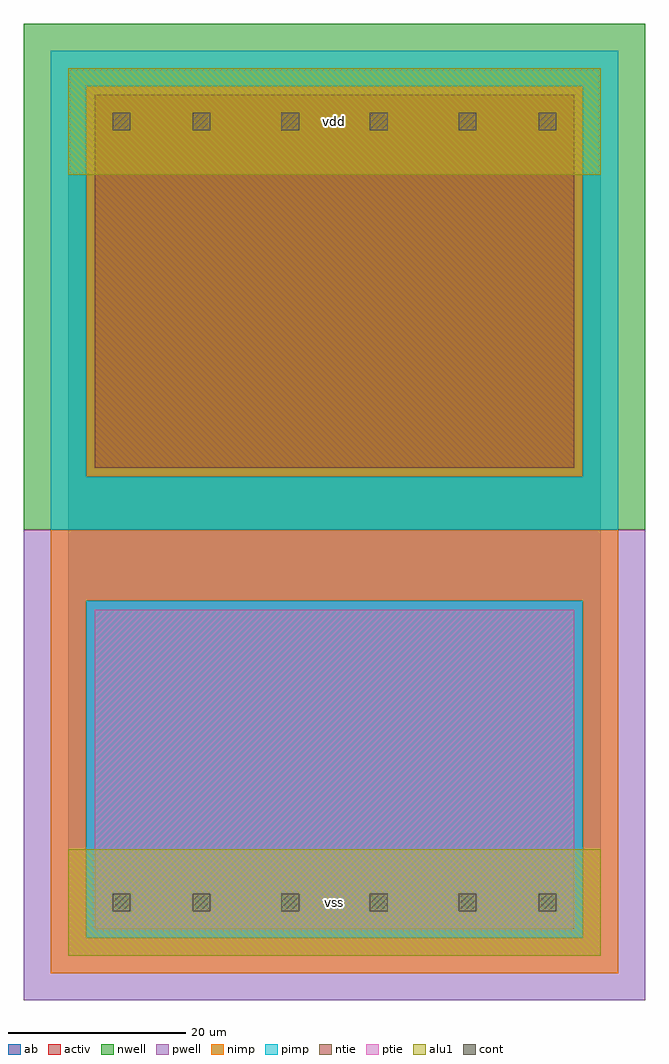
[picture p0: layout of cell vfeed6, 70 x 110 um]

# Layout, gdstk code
import gdstk
lib = gdstk.Library(unit=1e-6, precision=1e-09)
def R(c, l, rs):  # rectangles x0, y0, x1, y1
    for r in rs: c.add(gdstk.rectangle(r[:2], r[2:], *l))
def A(c, l, x, y, w, h, nx, ny, dx, dy):  # array of equal rectangles
    R(c, l, [(x+i*dx, y+j*dy, x+i*dx+w, y+j*dy+h) for i in range(nx) for j in range(ny)])
ntie = (5, 0)
ptie = (6, 0)
cont = (25, 0)
pwell = (41, 0)
nwell = (42, 0)
activ = (43, 0)
pimp = (44, 0)
nimp = (45, 0)
alu1 = (49, 0)
ab = (63, 0)

vfeed6 = lib.new_cell('vfeed6')
R(vfeed6, ntie, [(3,55,57,97)])
R(vfeed6, ptie, [(3,3,57,39)])
A(vfeed6, cont, 14, 5, 2, 2, 4, 2, 10, 88)
R(vfeed6, cont, [(5,5,7,7), (53,5,55,7), (5,93,7,95), (53,93,55,95)])
R(vfeed6, pwell, [(-5,-5,65,48)])
R(vfeed6, nwell, [(-5,48,65,105)])
R(vfeed6, activ, [(3,3,57,39), (3,55,57,97)])
R(vfeed6, pimp, [(2,2,58,40), (-2,48,62,54), (-2,54,2,98), (58,54,62,98), (-2,98,62,102)])
R(vfeed6, nimp, [(-2,-2,62,2), (-2,2,2,40), (58,2,62,40), (-2,40,62,48), (2,54,58,98)])
R(vfeed6, alu1, [(0,0,60,12), (0,88,60,100)])
R(vfeed6, ab, [(0,0,60,100)])
vfeed6.add(gdstk.Label('vss', (30,6), layer=49, texttype=0))
vfeed6.add(gdstk.Label('vdd', (30,94), layer=49, texttype=0))

lib.write_gds('vfeed6.gds')
